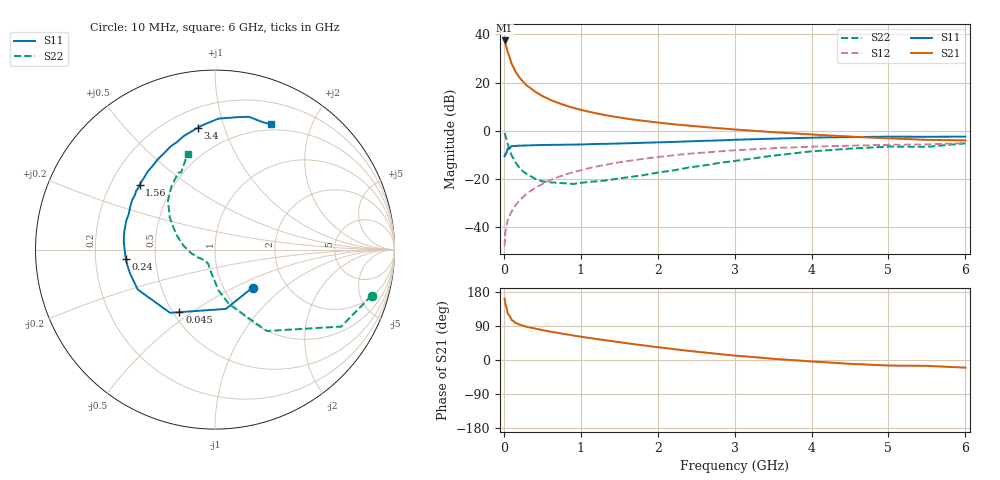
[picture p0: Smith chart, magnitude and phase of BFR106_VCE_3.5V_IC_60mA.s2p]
! Infineon Technologies  Discrete & RF Semiconductors
! BFR106
! VCE =  3.5 V,  IC =  60 mA
! Common Emitter S-Parameters:  Nov 2015
# GHz  S  MA  R  50
!  f  S11  S21  S12  S22
! GHz  MAG  ANG  MAG  ANG  MAG  ANG  MAG  ANG
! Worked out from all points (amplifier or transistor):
!   210 points, 10 MHz to 6 GHz, reference 50 ohm
!   highest |S21| = 37.5 dB at 10 MHz (marker M1)
!   |S21| within 3 dB of that: start of sweep to 35.57 MHz
!   unconditionally stable (mu >= 1): 226.7 MHz to 2.421 GHz
!   at 185 MHz: K = 0.96, MSG = 26.3 dB, |S12| = -29.5 dB
!   at 1.52 GHz: K = 1.05, MAG = 7.9 dB, |S12| = -12.9 dB
!   at 6 GHz: K = 0.99, MSG = 0.6 dB, |S12| = -5.0 dB
!   S11 on the Smith chart (normalised r, x): 10 MHz: 1.36, -0.63; 45 MHz: 0.54, -0.45; 240 MHz: 0.33, -0.05; 1.56 GHz: 0.32, +0.34; 3.4 GHz: 0.32, +0.82; 6 GHz: 0.43, +1.45
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0.01  0.2975 -45.3  75.12 162.1  0.0041 81.5  0.9091 -16.4
0.02  0.3359 -79.6  66.84 148.0  0.0079 69.0  0.8234 -31.4
0.045  0.4011 -119.7  46.15 128.5  0.0131 62.1  0.5746 -51.5
0.05  0.4321 -125.4  43 122.6  0.0142 61.3  0.5378 -57.5
0.1  0.4846 -152.7  24.83 105.9  0.0212 63.7  0.3139 -75.6
0.15  0.4918 -164.4  17.03 98.0  0.0284 66.3  0.2245 -85.6
0.2  0.4962 -169.9  12.98 93.6  0.0356 69.0  0.1751 -90.3
0.24  0.4993 -173.8  10.92 90.8  0.0414 70.2  0.1494 -94.7
0.26  0.5006 -175.5  10.07 89.4  0.0443 70.8  0.14 -96.9
0.3  0.5021 -178.1  8.719 87.3  0.0503 71.7  0.1277 -100.4
0.4  0.5085 176.6  6.601 83.0  0.0649 72.2  0.1037 -107.7
0.5  0.5126 172.4  5.3 78.8  0.0798 72.4  0.0902 -113.6
0.6  0.5155 168.5  4.442 75.0  0.0952 71.6  0.0861 -118.0
0.7  0.5174 165.0  3.834 71.3  0.1097 70.7  0.0846 -123.4
1.02  0.5256 154.5  2.69 61.1  0.157 66.7  0.0845 -136.9
1.56  0.5533 139.3  1.842 45.3  0.232 58.7  0.107 -157.4
2.02  0.58 127.4  1.482 33.4  0.2909 51.4  0.1391 -173.8
3.1  0.6632 103.4  1.046 10.1  0.4063 34.3  0.2517 154.0
3.4  0.6854 98.1  0.969 5.0  0.4326 29.8  0.293 146.8
4.1  0.7321 87.1  0.827 -5.0  0.4789 19.5  0.3879 131.7
5.1  0.7619 74.5  0.693 -14.8  0.5182 7.2  0.4739 115.1
6  0.7642 65.9  0.638 -20.2  0.5601 -2.4  0.5542 106.0
